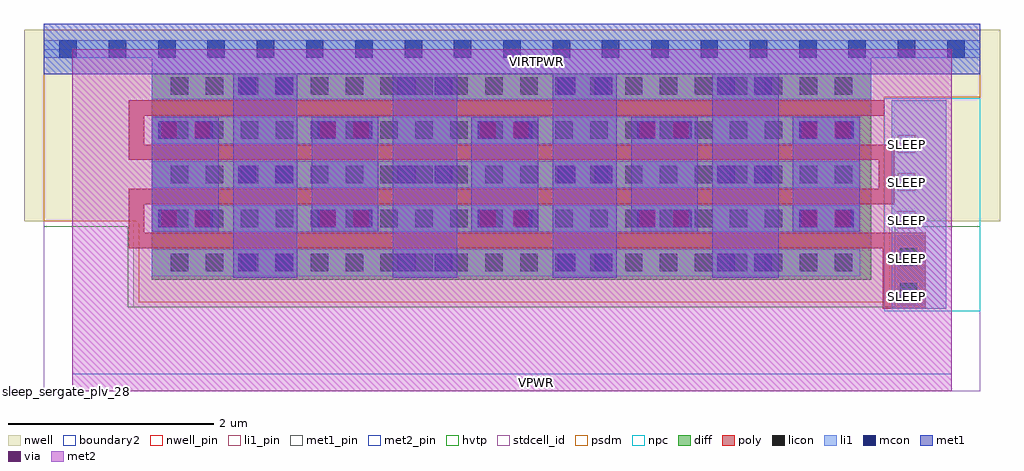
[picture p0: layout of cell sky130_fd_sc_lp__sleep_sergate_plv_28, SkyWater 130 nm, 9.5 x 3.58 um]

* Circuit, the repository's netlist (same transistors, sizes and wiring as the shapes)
* Copyright 2020 The SkyWater PDK Authors
*
* Licensed under the Apache License, Version 2.0 (the "License");
* you may not use this file except in compliance with the License.
* You may obtain a copy of the License at
*
*     https://www.apache.org/licenses/LICENSE-2.0
*
* Unless required by applicable law or agreed to in writing, software
* distributed under the License is distributed on an "AS IS" BASIS,
* WITHOUT WARRANTIES OR CONDITIONS OF ANY KIND, either express or implied.
* See the License for the specific language governing permissions and
* limitations under the License.
*
* SPDX-License-Identifier: Apache-2.0

.SUBCKT sky130_fd_sc_lp__sleep_sergate_plv_28 VIRTPWR VPWR SLEEP VPB
*.PININFO VIRTPWR:? VPWR:? SLEEP:? VPB:?
M1000 VIRTPWR SLEEP VPWR VPB sky130_fd_pr__pfet_01v8_hvt w=7e+06u l=150000u
+ ad=5.95e+12p pd=4.37e+07u as=3.92e+12p ps=2.912e+07u
M1001 VPWR SLEEP VIRTPWR VPB sky130_fd_pr__pfet_01v8_hvt w=7e+06u l=150000u ad=0p
+ pd=0u as=0p ps=0u
M1002 VIRTPWR SLEEP VPWR VPB sky130_fd_pr__pfet_01v8_hvt w=7e+06u l=150000u ad=0p
+ pd=0u as=0p ps=0u
M1003 VPWR SLEEP VIRTPWR VPB sky130_fd_pr__pfet_01v8_hvt w=7e+06u l=150000u ad=0p
+ pd=0u as=0p ps=0u
.ENDS sky130_fd_sc_lp__sleep_sergate_plv_28

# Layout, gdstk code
import gdstk
lib = gdstk.Library(unit=1e-6, precision=1e-09)
def R(c, l, rs):  # rectangles x0, y0, x1, y1
    for r in rs: c.add(gdstk.rectangle(r[:2], r[2:], *l))
def A(c, l, x, y, w, h, nx, ny, dx, dy):  # array of equal rectangles
    R(c, l, [(x+i*dx, y+j*dy, x+i*dx+w, y+j*dy+h) for i in range(nx) for j in range(ny)])
def P(c, l, *ps):  # polygons
    for p in ps: c.add(gdstk.Polygon(p, *l))
nwell_pin = (64, 16)
nwell = (64, 20)
diff = (65, 20)
poly = (66, 20)
licon = (66, 44)
li1_pin = (67, 16)
li1 = (67, 20)
mcon = (67, 44)
met1_pin = (68, 16)
met1 = (68, 20)
via = (68, 44)
met2_pin = (69, 16)
met2 = (69, 20)
hvtp = (78, 44)
stdcell_id = (81, 4)
psdm = (94, 20)
npc = (95, 20)
boundary2 = (236, 0)

sky130_fd_sc_lp__sleep_s = lib.new_cell('sky130_fd_sc_lp__sleep_sergate_plv_28')
R(sky130_fd_sc_lp__sleep_s, nwell_pin, [(0,3.085,9.12,3.33)])
P(sky130_fd_sc_lp__sleep_s, nwell, [(9.31,3.52),(-0.19,3.52),(-0.19,1.655),(0.875,1.655),(0.875,0.815),(8.235,0.815),(8.235,1.655),(9.31,1.655)])
R(sky130_fd_sc_lp__sleep_s, diff, [(1.055,1.085,8.055,3.095)])
P(sky130_fd_sc_lp__sleep_s, poly, [(8.585,1.54),(0.98,1.54),(0.98,1.82),(8.28,1.82),(8.28,2.4),(0.98,2.4),(0.98,2.68),(8.185,2.68),(8.185,2.83),(0.83,2.83),(0.83,2.25),(8.13,2.25),(8.13,1.97),(0.83,1.97),(0.83,1.39),(8.17,1.39),(8.17,0.8),(8.585,0.8)])
A(sky130_fd_sc_lp__sleep_s, licon, 1.24, 1.165, 0.17, 0.17, 20, 5, 0.34, 0.43)
R(sky130_fd_sc_lp__sleep_s, licon, [(8.335,0.88,8.505,1.05), (8.335,1.22,8.505,1.39)])
A(sky130_fd_sc_lp__sleep_s, li1_pin, 8.315, 0.84, 0.17, 0.17, 1, 5, 0, 0.37)
A(sky130_fd_sc_lp__sleep_s, li1, 1.055, 1.12, 6.895, 0.26, 1, 4, 0, 0.43)
R(sky130_fd_sc_lp__sleep_s, li1, [(8.255,0.8,8.785,2.83)])
P(sky130_fd_sc_lp__sleep_s, li1, [(9.12,3.415),(0,3.415),(0,3.245),(1.055,3.245),(1.055,2.84),(8.055,2.84),(8.055,3.245),(9.12,3.245)])
A(sky130_fd_sc_lp__sleep_s, mcon, 1.895, 1.165, 0.17, 0.17, 1, 3, 0, 0.86)
A(sky130_fd_sc_lp__sleep_s, mcon, 2.255, 1.165, 0.17, 0.17, 1, 3, 0, 0.86)
A(sky130_fd_sc_lp__sleep_s, mcon, 3.45, 1.165, 0.17, 0.17, 1, 3, 0, 0.86)
A(sky130_fd_sc_lp__sleep_s, mcon, 3.81, 1.165, 0.17, 0.17, 1, 3, 0, 0.86)
A(sky130_fd_sc_lp__sleep_s, mcon, 5.005, 1.165, 0.17, 0.17, 1, 3, 0, 0.86)
A(sky130_fd_sc_lp__sleep_s, mcon, 5.365, 1.165, 0.17, 0.17, 1, 3, 0, 0.86)
A(sky130_fd_sc_lp__sleep_s, mcon, 6.56, 1.165, 0.17, 0.17, 1, 3, 0, 0.86)
A(sky130_fd_sc_lp__sleep_s, mcon, 6.92, 1.165, 0.17, 0.17, 1, 3, 0, 0.86)
A(sky130_fd_sc_lp__sleep_s, mcon, 0.155, 3.245, 0.17, 0.17, 19, 1, 0.48, 0)
R(sky130_fd_sc_lp__sleep_s, mcon, [(1.115,1.595,1.285,1.765), (1.475,1.595,1.645,1.765), (2.67,1.595,2.84,1.765), (3.03,1.595,3.2,1.765), (4.225,1.595,4.395,1.765), (4.585,1.595,4.755,1.765), (5.78,1.595,5.95,1.765), (6.14,1.595,6.31,1.765), (7.355,1.595,7.525,1.765), (7.715,1.595,7.885,1.765), (1.115,2.455,1.285,2.625), (1.475,2.455,1.645,2.625), (2.67,2.455,2.84,2.625), (3.03,2.455,3.2,2.625), (4.225,2.455,4.395,2.625), (4.585,2.455,4.755,2.625), (5.78,2.455,5.95,2.625), (6.14,2.455,6.31,2.625), (7.355,2.455,7.525,2.625), (7.715,2.455,7.885,2.625)])
R(sky130_fd_sc_lp__sleep_s, met1_pin, [(0,3.085,9.12,3.33)])
A(sky130_fd_sc_lp__sleep_s, met1, 1.055, 1.55, 0.65, 1.12, 4, 1, 1.555, 0)
R(sky130_fd_sc_lp__sleep_s, met1, [(1.065,1.55,1.385,1.81), (1.385,1.55,1.705,1.81), (2.61,1.55,2.93,1.81), (2.93,1.55,3.25,1.81), (4.165,1.55,4.485,1.81), (4.485,1.55,4.805,1.81), (5.72,1.55,6.04,1.81), (6.04,1.55,6.36,1.81), (7.295,1.55,7.945,2.67), (7.295,1.55,7.615,1.81), (7.615,1.55,7.935,1.81), (1.065,2.41,1.385,2.67), (1.385,2.41,1.705,2.67), (2.61,2.41,2.93,2.67), (2.93,2.41,3.25,2.67), (4.165,2.41,4.485,2.67), (4.485,2.41,4.805,2.67), (5.72,2.41,6.04,2.67), (6.04,2.41,6.36,2.67), (7.295,2.41,7.615,2.67), (7.615,2.41,7.935,2.67)])
P(sky130_fd_sc_lp__sleep_s, met1, [(9.12,3.575),(0,3.575),(0,3.085),(1.845,3.085),(1.845,1.105),(2.47,1.105),(2.47,3.085),(3.4,3.085),(3.4,1.105),(4.025,1.105),(4.025,3.085),(4.955,3.085),(4.955,1.105),(5.58,1.105),(5.58,3.085),(6.51,3.085),(6.51,1.105),(7.155,1.105),(7.155,3.085),(9.12,3.085)])
R(sky130_fd_sc_lp__sleep_s, via, [(1.15,1.605,1.3,1.755), (1.47,1.605,1.62,1.755), (2.695,1.605,2.845,1.755), (3.015,1.605,3.165,1.755), (4.25,1.605,4.4,1.755), (4.57,1.605,4.72,1.755), (5.805,1.605,5.955,1.755), (6.125,1.605,6.275,1.755), (7.38,1.605,7.53,1.755), (7.7,1.605,7.85,1.755), (1.15,2.465,1.3,2.615), (1.47,2.465,1.62,2.615), (2.695,2.465,2.845,2.615), (3.015,2.465,3.165,2.615), (4.25,2.465,4.4,2.615), (4.57,2.465,4.72,2.615), (5.805,2.465,5.955,2.615), (6.125,2.465,6.275,2.615), (7.38,2.465,7.53,2.615), (7.7,2.465,7.85,2.615)])
R(sky130_fd_sc_lp__sleep_s, met2_pin, [(0.28,0,8.84,0.17)])
R(sky130_fd_sc_lp__sleep_s, met2, [(0.28,0,8.84,3.33), (1.065,1.55,1.385,1.81), (1.385,1.55,1.705,1.81), (2.61,1.55,2.93,1.81), (2.93,1.55,3.25,1.81), (4.165,1.55,4.485,1.81), (4.485,1.55,4.805,1.81), (5.72,1.55,6.04,1.81), (6.04,1.55,6.36,1.81), (7.295,1.55,7.615,1.81), (7.615,1.55,7.935,1.81), (1.065,2.41,1.385,2.67), (1.385,2.41,1.705,2.67), (2.61,2.41,2.93,2.67), (2.93,2.41,3.25,2.67), (4.165,2.41,4.485,2.67), (4.485,2.41,4.805,2.67), (5.72,2.41,6.04,2.67), (6.04,2.41,6.36,2.67), (7.295,2.41,7.615,2.67), (7.615,2.41,7.935,2.67)])
P(sky130_fd_sc_lp__sleep_s, hvtp, [(9.12,3.33),(0,3.33),(0,1.6),(0.82,1.6),(0.82,0.815),(8.29,0.815),(8.29,1.6),(9.12,1.6)])
R(sky130_fd_sc_lp__sleep_s, stdcell_id, [(0,0,9.12,3.33)])
P(sky130_fd_sc_lp__sleep_s, psdm, [(9.12,3.52),(0,3.52),(0,1.655),(0.925,1.655),(0.925,0.865),(8.185,0.865),(8.185,2.86),(9.12,2.86)])
R(sky130_fd_sc_lp__sleep_s, npc, [(8.185,0.78,9.12,2.85)])
R(sky130_fd_sc_lp__sleep_s, boundary2, [(0,0,9.12,3.33)])
sky130_fd_sc_lp__sleep_s.add(gdstk.Label('VIRTPWR', (4.8,3.21), layer=68, texttype=5))
sky130_fd_sc_lp__sleep_s.add(gdstk.Label('VPWR', (4.8,0.085), layer=69, texttype=5))
sky130_fd_sc_lp__sleep_s.add(gdstk.Label('SLEEP', (8.4,0.925), layer=67, texttype=5))
sky130_fd_sc_lp__sleep_s.add(gdstk.Label('SLEEP', (8.4,1.295), layer=67, texttype=5))
sky130_fd_sc_lp__sleep_s.add(gdstk.Label('SLEEP', (8.4,1.665), layer=67, texttype=5))
sky130_fd_sc_lp__sleep_s.add(gdstk.Label('SLEEP', (8.4,2.035), layer=67, texttype=5))
sky130_fd_sc_lp__sleep_s.add(gdstk.Label('SLEEP', (8.4,2.405), layer=67, texttype=5))
sky130_fd_sc_lp__sleep_s.add(gdstk.Label('VPB', (4.8,3.208), layer=64, texttype=5))
sky130_fd_sc_lp__sleep_s.add(gdstk.Label('sleep_sergate_plv_28', (0,0), layer=83, texttype=44))

lib.write_gds('sky130_fd_sc_lp__sleep_sergate_plv_28.gds')
